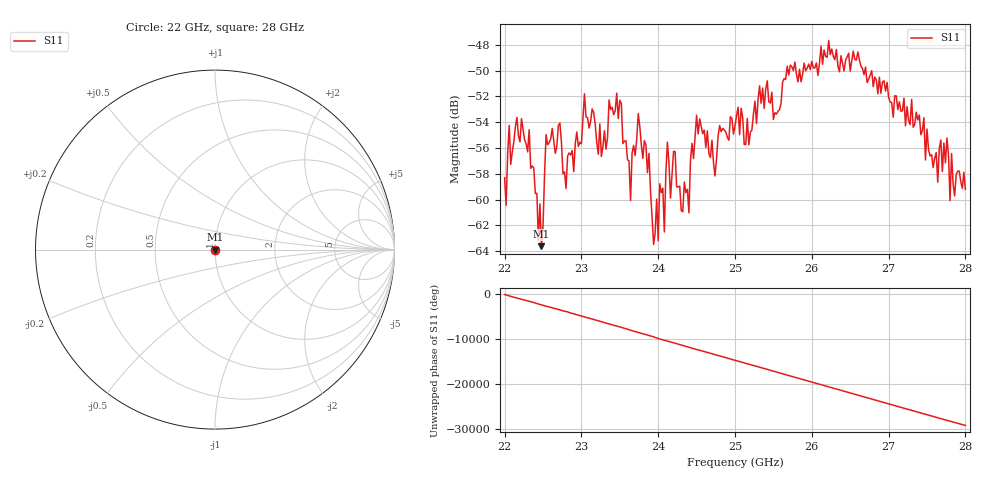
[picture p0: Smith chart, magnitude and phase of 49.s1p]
#  HZ  S  RI  R  50.00
! Rohde & Schwarz ZVA40 4Ports - Version 3.90 - 1145.1110k42 SN: 100403
! Date: 2023-10-04 07:37:26
! Measurement: S12
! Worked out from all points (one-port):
!   301 points, 22 GHz to 28 GHz, reference 50 ohm
!   lowest |S11| = -63.6 dB at 22.48 GHz (marker M1), VSWR 1.00, Z = 49.9 - j0.000663 ohm
!   |S11| at or under -10 dB: start of sweep to end of sweep
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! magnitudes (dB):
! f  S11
! 22 GHz  -58.3
! 22.02 GHz  -60.5
! 22.06 GHz  -54.2
! 22.32 GHz  -54.6
! 22.48 GHz  -63.6
! 22.54 GHz  -55.0
! 22.72 GHz  -54.1
! 22.76 GHz  -58.0
! 23.04 GHz  -51.8
! 23.26 GHz  -56.7
! 23.5 GHz  -52.3
! 23.64 GHz  -60.1
! 23.74 GHz  -53.3
! 23.88 GHz  -56.4
! 23.94 GHz  -63.5
! 24.02 GHz  -58.8
! 24.08 GHz  -62.5
! 24.12 GHz  -55.5
! 24.16 GHz  -59.9
! 24.26 GHz  -59.0
! 24.4 GHz  -61.0
! 24.5 GHz  -53.5
! 24.74 GHz  -58.2
! 25 GHz  -54.3
! 25.76 GHz  -50.0
! 26.5 GHz  -50.0
! 27.26 GHz  -53.8
! 28 GHz  -59.2
